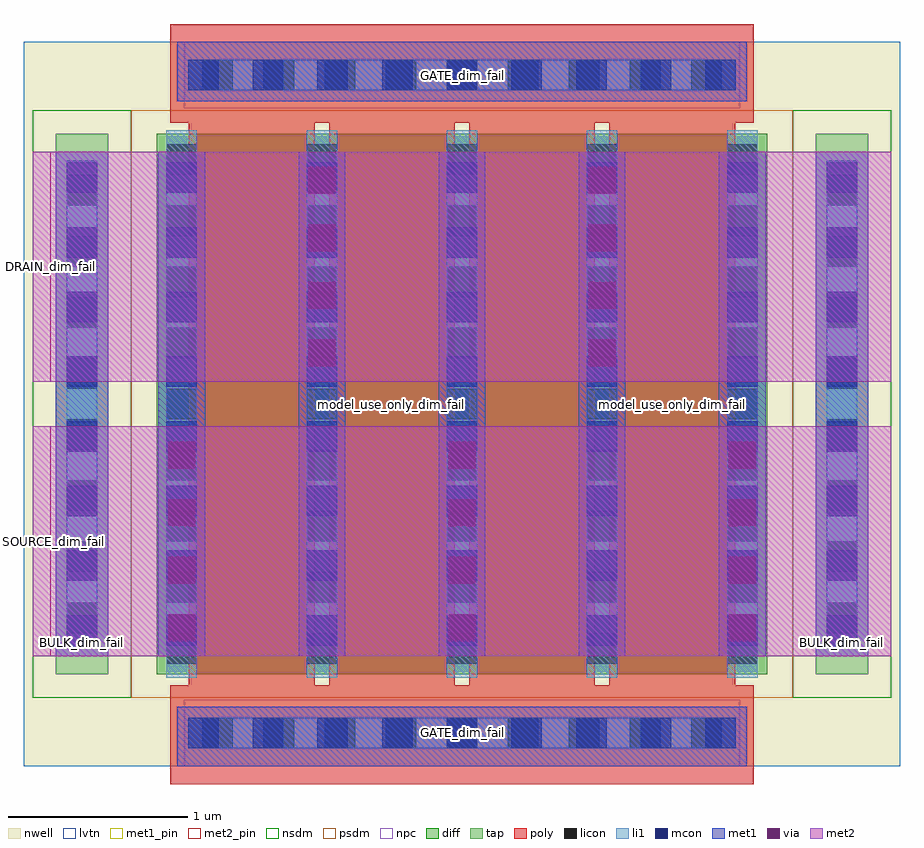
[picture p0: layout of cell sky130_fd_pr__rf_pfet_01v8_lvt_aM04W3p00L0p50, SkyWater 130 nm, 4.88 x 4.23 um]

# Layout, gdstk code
import gdstk
lib = gdstk.Library(unit=1e-6, precision=1e-09)
def R(c, l, rs):  # rectangles x0, y0, x1, y1
    for r in rs: c.add(gdstk.rectangle(r[:2], r[2:], *l))
def A(c, l, x, y, w, h, nx, ny, dx, dy):  # array of equal rectangles
    R(c, l, [(x+i*dx, y+j*dy, x+i*dx+w, y+j*dy+h) for i in range(nx) for j in range(ny)])
def P(c, l, *ps):  # polygons
    for p in ps: c.add(gdstk.Polygon(p, *l))
nwell = (64, 20)
diff = (65, 20)
tap = (65, 44)
poly = (66, 20)
licon = (66, 44)
li1 = (67, 20)
mcon = (67, 44)
met1_pin = (68, 16)
met1 = (68, 20)
via = (68, 44)
met2_pin = (69, 16)
met2 = (69, 20)
nsdm = (93, 44)
psdm = (94, 20)
npc = (95, 20)
lvtn = (125, 44)

sky130_fd_pr__rf_pfet_01 = lib.new_cell('sky130_fd_pr__rf_pfet_01v8_lvt_aM04W3p00L0p50')
R(sky130_fd_pr__rf_pfet_01, nwell, [(0,0,4.88,4.03)])
R(sky130_fd_pr__rf_pfet_01, diff, [(0.74,0.51,4.14,3.52)])
R(sky130_fd_pr__rf_pfet_01, tap, [(0.18,0.51,0.47,3.52), (4.41,0.51,4.7,3.52)])
P(sky130_fd_pr__rf_pfet_01, poly, [(0.815,-0.1),(0.815,0.45),(0.92,0.45),(0.92,3.58),(1.62,3.58),(1.62,0.45),(1.7,0.45),(1.7,3.58),(2.4,3.58),(2.4,0.45),(2.48,0.45),(2.48,3.58),(3.18,3.58),(3.18,0.45),(3.26,0.45),(3.26,3.58),(0.815,3.58),(0.815,4.13),(4.065,4.13),(4.065,3.58),(3.96,3.58),(3.96,0.45),(4.065,0.45),(4.065,-0.1)])
A(sky130_fd_pr__rf_pfet_01, licon, 0.995, 0.1, 0.17, 0.17, 9, 2, 0.34, 3.66)
A(sky130_fd_pr__rf_pfet_01, licon, 0.795, 0.57, 0.17, 0.17, 5, 9, 0.78, 0.34)
A(sky130_fd_pr__rf_pfet_01, licon, 0.24, 0.74, 0.17, 0.17, 1, 8, 0, 0.34)
A(sky130_fd_pr__rf_pfet_01, licon, 4.47, 0.74, 0.17, 0.17, 1, 8, 0, 0.34)
A(sky130_fd_pr__rf_pfet_01, li1, 0.795, 0.49, 0.17, 3.05, 5, 1, 0.78, 0)
A(sky130_fd_pr__rf_pfet_01, li1, 0.795, 0.67, 0.17, 2.69, 5, 1, 0.78, 0)
R(sky130_fd_pr__rf_pfet_01, li1, [(0.915,0.1,3.965,0.27), (0.24,0.66,0.41,3.37), (4.47,0.66,4.64,3.37), (0.24,0.67,0.41,3.36), (4.47,0.67,4.64,3.36), (0.915,3.76,3.965,3.93)])
A(sky130_fd_pr__rf_pfet_01, mcon, 0.915, 0.1, 0.17, 0.17, 9, 2, 0.36, 3.66)
A(sky130_fd_pr__rf_pfet_01, mcon, 0.24, 0.67, 0.17, 0.17, 1, 8, 0, 0.36)
A(sky130_fd_pr__rf_pfet_01, mcon, 0.795, 0.67, 0.17, 0.17, 5, 8, 0.78, 0.36)
A(sky130_fd_pr__rf_pfet_01, mcon, 4.47, 0.67, 0.17, 0.17, 1, 8, 0, 0.36)
R(sky130_fd_pr__rf_pfet_01, met1_pin, [(0.855,0,4.025,0.33), (0.18,0.61,0.47,0.69), (4.41,0.61,4.7,0.69), (0.855,3.7,4.025,4.03)])
A(sky130_fd_pr__rf_pfet_01, met1, 0.75, 0.61, 0.26, 1.28, 3, 1, 1.56, 0)
A(sky130_fd_pr__rf_pfet_01, met1, 0.75, 0.61, 0.26, 2.81, 5, 1, 0.78, 0)
R(sky130_fd_pr__rf_pfet_01, met1, [(0.855,0,4.025,0.33), (0.18,0.61,0.47,3.42), (4.41,0.61,4.7,3.42), (1.53,2.14,1.79,3.42), (3.09,2.14,3.35,3.42), (0.855,3.7,4.025,4.03)])
A(sky130_fd_pr__rf_pfet_01, via, 0.805, 0.695, 0.15, 0.15, 3, 4, 1.56, 0.32)
A(sky130_fd_pr__rf_pfet_01, via, 1.585, 2.225, 0.15, 0.15, 1, 4, 0, 0.32)
A(sky130_fd_pr__rf_pfet_01, via, 3.145, 2.225, 0.15, 0.15, 1, 4, 0, 0.32)
R(sky130_fd_pr__rf_pfet_01, met2_pin, [(0.05,0.61,0.15,1.89), (0.05,2.14,0.15,3.42)])
A(sky130_fd_pr__rf_pfet_01, met2, 0.75, 0.61, 0.26, 1.28, 3, 1, 1.56, 0)
R(sky130_fd_pr__rf_pfet_01, met2, [(0.05,0.61,4.83,1.89), (0.05,2.14,4.83,3.42), (1.53,2.14,1.79,3.42), (3.09,2.14,3.35,3.42)])
R(sky130_fd_pr__rf_pfet_01, nsdm, [(0.05,0.38,0.6,3.65), (4.28,0.38,4.83,3.65)])
R(sky130_fd_pr__rf_pfet_01, psdm, [(0.6,0.38,4.28,3.65)])
R(sky130_fd_pr__rf_pfet_01, npc, [(0.895,0,3.985,0.37), (0.895,3.66,3.985,4.03)])
R(sky130_fd_pr__rf_pfet_01, lvtn, [(0,0,4.88,4.03)])
sky130_fd_pr__rf_pfet_01.add(gdstk.Label('model_use_only_dim_fail', (2.05,2.01), layer=66, texttype=83))
sky130_fd_pr__rf_pfet_01.add(gdstk.Label('model_use_only_dim_fail', (1.27,2.01), layer=66, texttype=83))
sky130_fd_pr__rf_pfet_01.add(gdstk.Label('model_use_only_dim_fail', (2.83,2.01), layer=66, texttype=83))
sky130_fd_pr__rf_pfet_01.add(gdstk.Label('model_use_only_dim_fail', (3.61,2.01), layer=66, texttype=83))
sky130_fd_pr__rf_pfet_01.add(gdstk.Label('DRAIN_dim_fail', (0.15,2.78), layer=69, texttype=5))
sky130_fd_pr__rf_pfet_01.add(gdstk.Label('SOURCE_dim_fail', (0.15,1.25), layer=69, texttype=5))
sky130_fd_pr__rf_pfet_01.add(gdstk.Label('BULK_dim_fail', (4.55,0.69), layer=68, texttype=5))
sky130_fd_pr__rf_pfet_01.add(gdstk.Label('BULK_dim_fail', (0.32,0.69), layer=68, texttype=5))
sky130_fd_pr__rf_pfet_01.add(gdstk.Label('GATE_dim_fail', (2.44,0.185), layer=68, texttype=5))
sky130_fd_pr__rf_pfet_01.add(gdstk.Label('GATE_dim_fail', (2.44,3.845), layer=68, texttype=5))

lib.write_gds('sky130_fd_pr__rf_pfet_01v8_lvt_aM04W3p00L0p50.gds')
